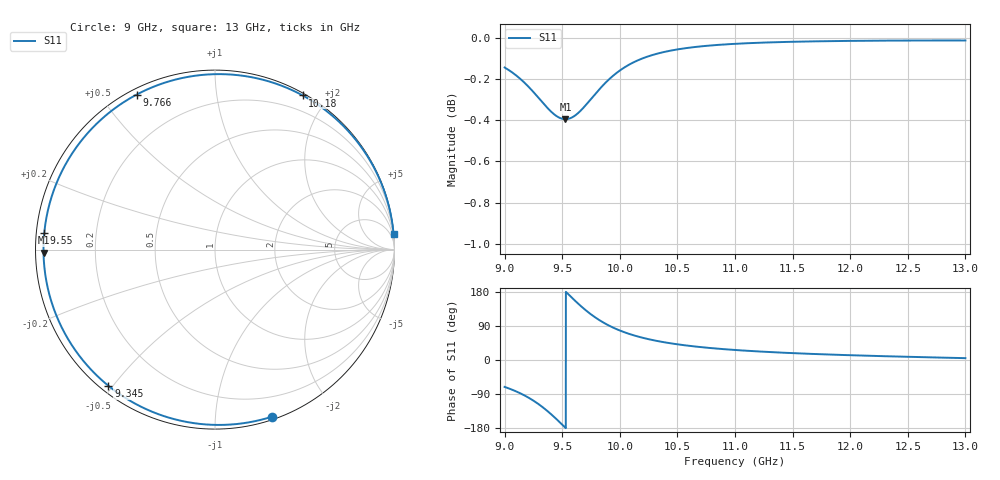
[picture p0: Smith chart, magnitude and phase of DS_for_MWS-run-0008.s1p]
! TOUCHSTONE file generated by CST DESIGN STUDIO
! Date and time: Tue Feb  4 13:23:59 2025
! Project name: C:\Work\MatlabApps\UnitCellOptimizationMatlab\CST\unitcell.cst
! Tree item: Tasks\Sweep1\SPara1\S-Parameters
! Header version: 2024
! Port assignment regex: !\s*Touchstone port\s*([0-9]+)\s*=\s*(CST MWS port|CST DES external port|CST DES block port)\s*(.+)\s* \(\"(.*)\"\)(\s*mode\s*([0-9]+))?.*
! Touchstone port assignment:
! Touchstone port 1 = CST DES external port 1 ("")
# GHz S MA R 50
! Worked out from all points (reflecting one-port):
!   4001 points, 9 GHz to 13 GHz, reference 50 ohm
!   lowest |S11| = -0.4 dB at 9.528 GHz (marker M1), VSWR 44.07, Z = 1.13 - j0.451 ohm
!   phase of S11 starts at -71 deg and turns -284 deg over the sweep
!   S11 on the Smith chart (normalised r, x): 9 GHz: 0.02, -1.40; 9.345 GHz: 0.02, -0.49; 9.55 GHz: 0.02, +0.05; 9.766 GHz: 0.02, +0.61; 10.18 GHz: 0.02, +1.72; 13 GHz: 0, +23
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9  0.9837 -71.0
9.096  0.9795 -82.3
9.203  0.9734 -98.6
9.278  0.9683 -112.9
9.345  0.9635 -128.0
9.418  0.9588 -147.0
9.461  0.9569 -159.1
9.5  0.9558 -170.6
9.528  0.9556 -179.0
9.55  0.9558 174.5
9.604  0.9572 158.5
9.664  0.9604 141.8
9.715  0.9639 128.7
9.766  0.9677 116.8
9.815  0.9712 106.7
9.869  0.9749 96.8
9.934  0.9787 86.6
10  0.982 77.9
10.084  0.9853 68.6
10.176  0.9881 60.4
10.324  0.9913 50.2
10.5  0.9937 41.4
10.721  0.9955 33.5
11  0.9968 26.4
11.5  0.9979 18.1
12  0.9984 12.6
12.5  0.9986 8.4
13  0.9986 4.9
